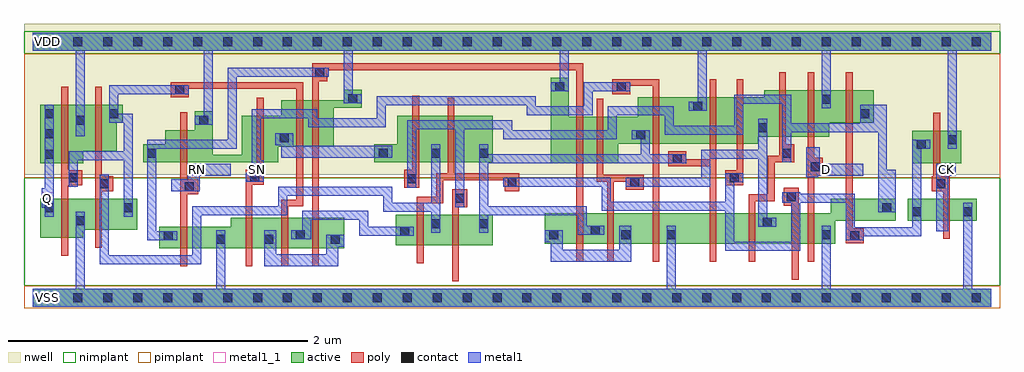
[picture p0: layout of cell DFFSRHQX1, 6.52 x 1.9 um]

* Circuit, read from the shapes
.subckt DFFSRHQX1 CK D Q RN SN VDD VSS
M1 VSS n1 Q VSS nfet w=0.26u l=0.045u
M2 n1 n2 VSS VSS nfet w=0.205u l=0.045u
M3 VSS RN n3 VSS nfet w=0.145u l=0.045u
M4 n4 SN VSS VSS nfet w=0.205u l=0.045u
M5 n5 n1 n4 VSS nfet w=0.205u l=0.045u
M6 n4 n3 n5 VSS nfet w=0.205u l=0.045u
M7 n2 n6 n5 VSS nfet w=0.205u l=0.045u
M8 n7 n8 n2 VSS nfet w=0.205u l=0.045u
M9 n7 n3 n9 VSS nfet w=0.205u l=0.045u
M10 n9 n10 n7 VSS nfet w=0.205u l=0.045u
M11 VSS SN n9 VSS nfet w=0.205u l=0.045u
M12 n11 n7 VSS VSS nfet w=0.205u l=0.045u
M13 n10 n8 n11 VSS nfet w=0.205u l=0.045u
M14 n12 n6 n10 VSS nfet w=0.205u l=0.045u
M15 VSS D n12 VSS nfet w=0.205u l=0.045u
M16 n8 n6 VSS VSS nfet w=0.145u l=0.045u
M17 VSS CK n6 VSS nfet w=0.145u l=0.045u
M18 VDD n1 Q VDD pfet w=0.39u l=0.045u
M19 n1 n2 VDD VDD pfet w=0.31u l=0.045u
M20 VDD RN n3 VDD pfet w=0.215u l=0.045u
M21 n13 SN VDD VDD pfet w=0.31u l=0.045u
M22 n14 n1 n13 VDD pfet w=0.31u l=0.045u
M23 VDD n3 n14 VDD pfet w=0.31u l=0.045u
M24 n2 n8 n13 VDD pfet w=0.31u l=0.045u
M25 n7 n6 n2 VDD pfet w=0.31u l=0.045u
M26 n15 n3 VDD VDD pfet w=0.31u l=0.045u
M27 n7 n10 n15 VDD pfet w=0.31u l=0.045u
M28 VDD SN n7 VDD pfet w=0.31u l=0.045u
M29 n16 n7 VDD VDD pfet w=0.31u l=0.045u
M30 n10 n6 n16 VDD pfet w=0.31u l=0.045u
M31 n17 n8 n10 VDD pfet w=0.31u l=0.045u
M32 VDD D n17 VDD pfet w=0.31u l=0.045u
M33 n8 n6 VDD VDD pfet w=0.215u l=0.045u
M34 VDD CK n6 VDD pfet w=0.215u l=0.045u
.ends

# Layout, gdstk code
import gdstk
lib = gdstk.Library(unit=1e-6, precision=5e-10)
def R(c, l, rs):  # rectangles x0, y0, x1, y1
    for r in rs: c.add(gdstk.rectangle(r[:2], r[2:], *l))
def A(c, l, x, y, w, h, nx, ny, dx, dy):  # array of equal rectangles
    R(c, l, [(x+i*dx, y+j*dy, x+i*dx+w, y+j*dy+h) for i in range(nx) for j in range(ny)])
def P(c, l, *ps):  # polygons
    for p in ps: c.add(gdstk.Polygon(p, *l))
active = (1, 0)
nwell = (2, 0)
poly = (3, 0)
nimplant = (4, 0)
pimplant = (5, 0)
contact = (6, 0)
metal1 = (7, 0)
metal1_1 = (7, 1)

dffsrhqx1 = lib.new_cell('DFFSRHQX1')
R(dffsrhqx1, active, [(0,-0.06,6.4,0.06), (2.425,0.35,3.07,0.555), (5.845,0.515,6.305,0.66), (5.875,0.9,6.2,1.115), (0,1.65,6.4,1.77)])
P(dffsrhqx1, active, [(0.05,1.29),(0.6,1.29),(0.6,1.17),(0.56,1.17),(0.56,0.98),(0.335,0.98),(0.335,0.9),(0.05,0.9)],
  [(3.46,1.47),(3.58,1.47),(3.58,1.21),(4.04,1.21),(4.04,1.34),(4.885,1.34),(4.885,1.385),(5.615,1.385),(5.615,1.17),(5.32,1.17),(5.32,1.075),(4.845,1.075),(4.845,1.03),(3.91,1.03),(3.91,0.9),(3.46,0.9)],
  [(2.075,1.39),(2.195,1.39),(2.195,1.27),(2.01,1.27),(2.01,1.01),(1.64,1.01),(1.64,0.905),(0.735,0.905),(0.735,1.025),(0.885,1.025),(0.885,1.12),(1.08,1.12),(1.08,1.245),(1.2,1.245),(1.2,0.955),(1.395,0.955),(1.395,1.215),(1.66,1.215),(1.66,1.32),(2.075,1.32)],
  [(2.435,1.215),(3.07,1.215),(3.07,0.905),(2.28,0.905),(2.28,1.025),(2.435,1.025)],
  [(0.05,0.66),(0.695,0.66),(0.695,0.455),(0.335,0.455),(0.335,0.4),(0.05,0.4)],
  [(1.32,0.535),(2.08,0.535),(2.08,0.33),(0.845,0.33),(0.845,0.475),(1.32,0.475)],
  [(5.33,0.66),(5.765,0.66),(5.765,0.515),(5.36,0.515),(5.36,0.36),(3.42,0.36),(3.42,0.565),(5.33,0.565)])
R(dffsrhqx1, nwell, [(-0.06,0.82,6.46,1.83)])
P(dffsrhqx1, poly, [(0.19,1.41),(0.235,1.41),(0.235,0.85),(0.33,0.85),(0.33,0.75),(0.235,0.75),(0.235,0.28),(0.19,0.28)],
  [(0.415,1.41),(0.46,1.41),(0.46,0.81),(0.535,0.81),(0.535,0.71),(0.46,0.71),(0.46,0.335),(0.415,0.335)],
  [(0.92,1.44),(1.805,1.44),(1.805,0.61),(1.705,0.61),(1.705,0.21),(1.66,0.21),(1.66,0.655),(1.76,0.655),(1.76,1.395),(1.04,1.395),(1.04,1.34),(0.92,1.34)],
  [(0.985,1.24),(1.03,1.24),(1.03,0.79),(1.105,0.79),(1.105,0.69),(1.03,0.69),(1.03,0.21),(0.985,0.21)],
  [(1.495,1.335),(1.54,1.335),(1.54,0.755),(1.465,0.755),(1.465,0.21),(1.42,0.21),(1.42,0.855),(1.495,0.855)],
  [(1.865,1.565),(3.675,1.565),(3.675,0.24),(3.63,0.24),(3.63,1.52),(1.965,1.52),(1.965,1.445),(1.91,1.445),(1.91,0.21),(1.865,0.21)],
  [(3.87,1.46),(4.185,1.46),(4.185,0.24),(4.14,0.24),(4.14,1.415),(3.99,1.415),(3.99,1.36),(3.87,1.36)],
  [(2.535,1.35),(2.58,1.35),(2.58,0.735),(2.48,0.735),(2.48,0.855),(2.535,0.855)],
  [(2.77,1.335),(2.815,1.335),(2.815,0.83),(3.25,0.83),(3.25,0.71),(3.15,0.71),(3.15,0.785),(2.74,0.785),(2.74,0.63),(2.61,0.63),(2.61,0.23),(2.565,0.23),(2.565,0.675),(2.695,0.675),(2.695,0.83),(2.77,0.83)],
  [(3.765,1.33),(3.81,1.33),(3.81,0.82),(4.08,0.82),(4.08,0.72),(3.96,0.72),(3.96,0.775),(3.88,0.775),(3.88,0.24),(3.835,0.24),(3.835,0.775),(3.765,0.775)],
  [(4.245,0.98),(4.365,0.98),(4.365,0.925),(4.52,0.925),(4.52,1.46),(4.565,1.46),(4.565,0.24),(4.52,0.24),(4.52,0.88),(4.245,0.88)],
  [(4.7,1.46),(4.745,1.46),(4.745,0.75),(4.625,0.75),(4.625,0.85),(4.7,0.85)],
  [(4.985,1.505),(5.03,1.505),(5.03,1.025),(5.085,1.025),(5.085,0.905),(4.955,0.905),(4.955,0.645),(4.825,0.645),(4.825,0.24),(4.78,0.24),(4.78,0.69),(4.91,0.69),(4.91,0.95),(4.985,0.95)],
  [(5.175,1.505),(5.22,1.505),(5.22,0.935),(5.275,0.935),(5.275,0.815),(5.22,0.815),(5.22,0.24),(5.175,0.24)],
  [(5.43,1.505),(5.475,1.505),(5.475,0.465),(5.55,0.465),(5.55,0.365),(5.43,0.365)],
  [(6.015,1.235),(6.06,1.235),(6.06,0.81),(6.125,0.81),(6.125,0.395),(6.08,0.395),(6.08,0.71),(6.005,0.71),(6.005,0.81),(6.015,0.81)],
  [(5.015,0.735),(5.115,0.735),(5.115,0.12),(5.07,0.12),(5.07,0.615),(5.015,0.615)],
  [(2.8,0.725),(2.9,0.725),(2.9,0.605),(2.845,0.605),(2.845,0.11),(2.8,0.11)])
R(dffsrhqx1, nimplant, [(-0.06,0.08,6.46,0.8), (-0.06,1.63,6.46,1.78)])
R(dffsrhqx1, pimplant, [(-0.06,-0.07,6.46,0.08), (-0.06,0.8,6.46,1.63)])
A(dffsrhqx1, contact, 0.07, -0.03, 0.06, 0.06, 32, 2, 0.2, 1.71)
A(dffsrhqx1, contact, 0.08, 0.93, 0.06, 0.06, 1, 3, 0, 0.135)
R(dffsrhqx1, contact, [(1.225,0.36,1.285,0.42), (1.545,0.36,1.605,0.42), (1.99,0.36,2.05,0.42), (0.875,0.385,0.935,0.445), (5.46,0.385,5.52,0.445), (1.755,0.39,1.815,0.45), (3.45,0.39,3.51,0.45), (3.93,0.39,3.99,0.45), (4.235,0.39,4.295,0.45), (5.27,0.39,5.33,0.45), (2.455,0.415,2.515,0.475), (3.725,0.42,3.785,0.48), (2.66,0.465,2.72,0.525), (2.98,0.465,3.04,0.525), (4.875,0.475,4.935,0.535), (0.285,0.485,0.345,0.545), (5.875,0.545,5.935,0.605), (6.215,0.545,6.275,0.605), (0.08,0.57,0.14,0.63), (0.605,0.57,0.665,0.63), (5.675,0.57,5.735,0.63), (2.82,0.635,2.88,0.695), (5.035,0.645,5.095,0.705), (1.015,0.71,1.075,0.77), (0.445,0.73,0.505,0.79), (6.035,0.73,6.095,0.79), (3.17,0.74,3.23,0.8), (3.99,0.74,4.05,0.8), (2.5,0.765,2.56,0.825), (0.24,0.77,0.3,0.83), (4.655,0.77,4.715,0.83), (1.45,0.775,1.51,0.835), (5.195,0.845,5.255,0.905), (4.275,0.9,4.335,0.96), (0.765,0.935,0.825,0.995), (2.31,0.935,2.37,0.995), (2.66,0.935,2.72,0.995), (2.98,0.935,3.04,0.995), (5.005,0.935,5.065,0.995), (5.905,0.995,5.965,1.055), (6.11,1.025,6.17,1.085), (1.65,1.04,1.71,1.1), (4.03,1.06,4.09,1.12), (4.845,1.105,4.905,1.165), (0.285,1.155,0.345,1.215), (1.11,1.155,1.17,1.215), (0.51,1.2,0.57,1.26), (5.525,1.2,5.585,1.26), (4.41,1.25,4.47,1.31), (5.27,1.295,5.33,1.355), (2.105,1.3,2.165,1.36), (0.95,1.36,1.01,1.42), (3.49,1.38,3.55,1.44), (3.9,1.38,3.96,1.44), (1.885,1.475,1.945,1.535)])
P(dffsrhqx1, metal1, [(0,1.77),(6.4,1.77),(6.4,1.65),(6.17,1.65),(6.17,0.995),(6.11,0.995),(6.11,1.65),(5.33,1.65),(5.33,1.265),(5.27,1.265),(5.27,1.65),(4.5,1.65),(4.5,1.25),(4.38,1.25),(4.38,1.31),(4.44,1.31),(4.44,1.65),(3.58,1.65),(3.58,1.38),(3.46,1.38),(3.46,1.44),(3.52,1.44),(3.52,1.65),(2.135,1.65),(2.135,1.36),(2.195,1.36),(2.195,1.3),(2.075,1.3),(2.075,1.65),(1.2,1.65),(1.2,1.155),(1.08,1.155),(1.08,1.215),(1.14,1.215),(1.14,1.65),(0.345,1.65),(0.345,1.08),(0.285,1.08),(0.285,1.65),(0,1.65)],
  [(0.08,1.29),(0.14,1.29),(0.14,0.54),(0.08,0.54),(0.08,0.6),(0.06,0.6),(0.06,0.73),(0.08,0.73)],
  [(0.51,1.42),(1.04,1.42),(1.04,1.36),(0.57,1.36),(0.57,1.23),(0.665,1.23),(0.665,0.54),(0.605,0.54),(0.605,0.92),(0.3,0.92),(0.3,0.74),(0.24,0.74),(0.24,0.98),(0.605,0.98),(0.605,1.17),(0.51,1.17)],
  [(1.3,1.535),(1.975,1.535),(1.975,1.475),(1.36,1.475),(1.36,0.995),(0.825,0.995),(0.825,0.445),(0.965,0.445),(0.965,0.385),(0.765,0.385),(0.765,1.055),(1.3,1.055)],
  [(0.445,0.82),(0.505,0.82),(0.505,0.285),(1.065,0.285),(1.065,0.61),(1.64,0.61),(1.64,0.74),(2.4,0.74),(2.4,0.635),(2.66,0.635),(2.66,1.025),(2.72,1.025),(2.72,0.435),(2.66,0.435),(2.66,0.575),(2.34,0.575),(2.34,0.68),(1.7,0.68),(1.7,0.55),(1.125,0.55),(1.125,0.225),(0.445,0.225)],
  [(0.285,0.575),(0.345,0.575),(0.345,0.06),(1.225,0.06),(1.225,0.45),(1.285,0.45),(1.285,0.06),(4.235,0.06),(4.235,0.48),(4.295,0.48),(4.295,0.06),(5.27,0.06),(5.27,0.48),(5.33,0.48),(5.33,0.06),(6.215,0.06),(6.215,0.635),(6.275,0.635),(6.275,0.06),(6.4,0.06),(6.4,-0.06),(0,-0.06),(0,0.06),(0.285,0.06)],
  [(3.68,1.44),(3.99,1.44),(3.99,1.38),(3.74,1.38),(3.74,1.22),(3.3,1.22),(3.3,1.285),(2.355,1.285),(2.355,1.14),(1.84,1.14),(1.84,1.2),(1.52,1.2),(1.52,0.92),(1.54,0.92),(1.54,0.775),(1.42,0.775),(1.42,0.835),(1.46,0.835),(1.46,1.26),(1.9,1.26),(1.9,1.2),(2.295,1.2),(2.295,1.345),(3.36,1.345),(3.36,1.28),(3.68,1.28)],
  [(1.62,1.1),(1.74,1.1),(1.74,1.015),(2.4,1.015),(2.4,0.935),(1.66,0.935),(1.66,1.02),(1.62,1.02)],
  [(4.685,1.355),(5.065,1.355),(5.065,1.165),(5.525,1.165),(5.525,1.29),(5.705,1.29),(5.705,0.855),(5.765,0.855),(5.765,0.57),(5.645,0.57),(5.645,1.105),(5.065,1.105),(5.065,0.905),(5.005,0.905),(5.005,1.295),(4.745,1.295),(4.745,1.09),(4.22,1.09),(4.22,1.22),(3.9,1.22),(3.9,1.06),(3.14,1.06),(3.14,1.125),(2.88,1.125),(2.88,0.605),(2.82,0.605),(2.82,1.125),(2.56,1.125),(2.56,0.735),(2.5,0.735),(2.5,1.185),(3.2,1.185),(3.2,1.12),(3.84,1.12),(3.84,1.28),(4.28,1.28),(4.28,1.15),(4.685,1.15)],
  [(1.035,0.895),(1.32,0.895),(1.32,0.815),(1.115,0.815),(1.115,0.71),(0.925,0.71),(0.925,0.79),(1.035,0.79)],
  [(1.8,0.58),(2.24,0.58),(2.24,0.475),(2.545,0.475),(2.545,0.415),(2.18,0.415),(2.18,0.52),(1.86,0.52),(1.86,0.39),(1.725,0.39),(1.725,0.45),(1.8,0.45)],
  [(1.545,0.45),(1.625,0.45),(1.625,0.29),(1.96,0.29),(1.96,0.42),(2.08,0.42),(2.08,0.34),(2.04,0.34),(2.04,0.21),(1.545,0.21)],
  [(4,1.12),(4.12,1.12),(4.12,0.96),(4.365,0.96),(4.365,0.9),(3.04,0.9),(3.04,0.61),(3.7,0.61),(3.7,0.48),(3.815,0.48),(3.815,0.42),(3.64,0.42),(3.64,0.55),(3.04,0.55),(3.04,0.435),(2.98,0.435),(2.98,1.025),(3.04,1.025),(3.04,0.96),(4.06,0.96),(4.06,1.06),(4,1.06)],
  [(4.845,1.195),(4.905,1.195),(4.905,0.535),(4.965,0.535),(4.965,0.475),(4.845,0.475),(4.845,0.93),(4.525,0.93),(4.525,0.74),(3.96,0.74),(3.96,0.8),(4.465,0.8),(4.465,0.99),(4.845,0.99)],
  [(5.875,1.055),(5.995,1.055),(5.995,0.995),(5.935,0.995),(5.935,0.41),(5.55,0.41),(5.55,0.385),(5.43,0.385),(5.43,0.635),(5.125,0.635),(5.125,0.315),(4.625,0.315),(4.625,0.58),(3.8,0.58),(3.8,0.74),(3.14,0.74),(3.14,0.8),(3.86,0.8),(3.86,0.64),(4.625,0.64),(4.625,0.83),(4.745,0.83),(4.745,0.77),(4.685,0.77),(4.685,0.375),(5.065,0.375),(5.065,0.635),(5.005,0.635),(5.005,0.705),(5.125,0.705),(5.125,0.695),(5.49,0.695),(5.49,0.47),(5.875,0.47)],
  [(3.42,0.45),(3.54,0.45),(3.54,0.32),(3.915,0.32),(3.915,0.48),(3.995,0.48),(3.995,0.24),(3.46,0.24),(3.46,0.37),(3.42,0.37)],
  [(5.165,1.005),(5.255,1.005),(5.255,0.895),(5.545,0.895),(5.545,0.815),(5.245,0.815),(5.245,0.805),(5.165,0.805)],
  [(6.035,0.895),(6.165,0.895),(6.165,0.815),(6.115,0.815),(6.115,0.445),(6.035,0.445)])
R(dffsrhqx1, metal1_1, [(0.06,-0.04,0.14,0.04), (0.06,0.625,0.14,0.705), (1.06,0.815,1.14,0.895), (1.46,0.815,1.54,0.895), (5.26,0.815,5.34,0.895), (6.06,0.815,6.14,0.895), (0.06,1.67,0.14,1.75)])
dffsrhqx1.add(gdstk.Label('Q', (0.1,0.665), layer=7, texttype=1))
dffsrhqx1.add(gdstk.Label('CK', (6.1,0.855), layer=7, texttype=1))
dffsrhqx1.add(gdstk.Label('D', (5.3,0.855), layer=7, texttype=1))
dffsrhqx1.add(gdstk.Label('SN', (1.5,0.855), layer=7, texttype=1))
dffsrhqx1.add(gdstk.Label('RN', (1.1,0.855), layer=7, texttype=1))
dffsrhqx1.add(gdstk.Label('VDD', (0.1,1.71), layer=7, texttype=1))
dffsrhqx1.add(gdstk.Label('VSS', (0.1,0), layer=7, texttype=1))
dffsrhqx1.add(gdstk.Label('DFFSRHQX1', (0,0), layer=63, texttype=0))

lib.write_gds('DFFSRHQX1.gds')
